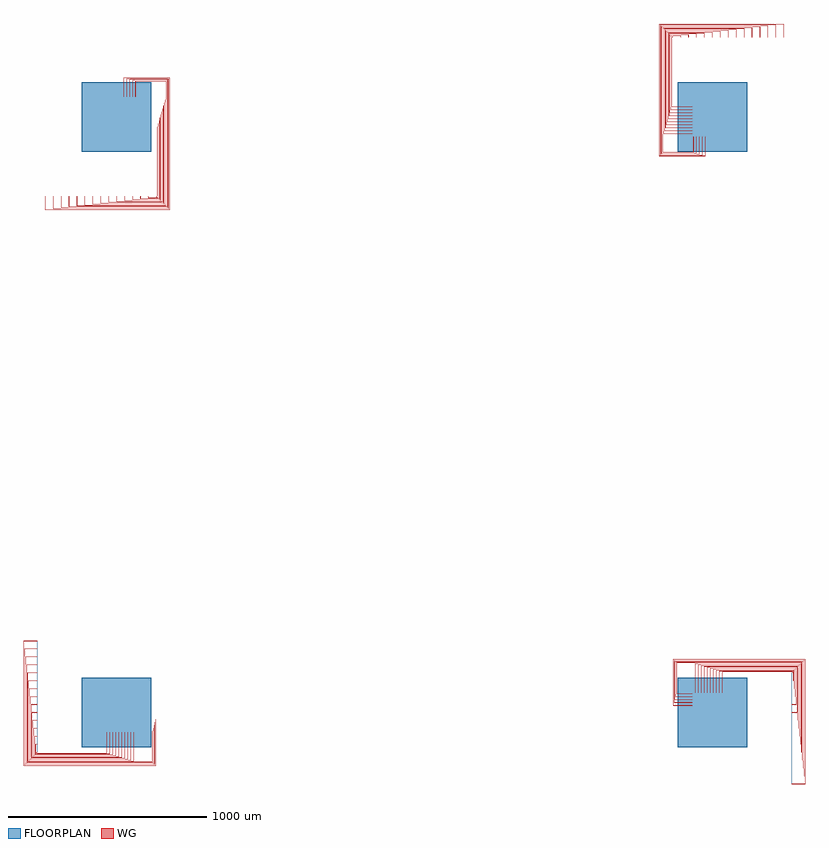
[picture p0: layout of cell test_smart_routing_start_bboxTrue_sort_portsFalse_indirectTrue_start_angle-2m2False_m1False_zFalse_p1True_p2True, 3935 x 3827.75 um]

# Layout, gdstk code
import gdstk
lib = gdstk.Library(unit=1e-6, precision=1e-09)
def R(c, l, rs):  # rectangles x0, y0, x1, y1
    for r in rs: c.add(gdstk.rectangle(r[:2], r[2:], *l))
def P(c, l, *ps):  # polygons
    for p in ps: c.add(gdstk.Polygon(p, *l))
WG = (1, 0)
FLOORPLAN = (10, 0)

test_smart_routing_start = lib.new_cell('test_smart_routing_start_bboxTrue_sort_portsFalse_indirectTrue_start_angle-2m2False_m1False_zFalse_p1True_p2True')
P(test_smart_routing_start, WG, [(2795.55,3050.05),(2795.55,3404.2),(2799.95,3404.2),(2799.95,3400),(2799.75,3400),(2799.75,3404),(2795.75,3404),(2795.75,3050.25),(2900,3050.25),(2900,3050.05)],
  [(2795.25,3049.75),(2795.25,3404.5),(2800.25,3404.5),(2800.25,3400),(2800.05,3400),(2800.05,3404.3),(2795.45,3404.3),(2795.45,3049.95),(2900,3049.95),(2900,3049.75)],
  [(2791.05,3035.05),(2791.05,3408.7),(2839.95,3408.7),(2839.95,3400),(2839.75,3400),(2839.75,3408.5),(2791.25,3408.5),(2791.25,3035.25),(2900,3035.25),(2900,3035.05)],
  [(2790.75,3034.75),(2790.75,3409),(2840.25,3409),(2840.25,3400),(2840.05,3400),(2840.05,3408.8),(2790.95,3408.8),(2790.95,3034.95),(2900,3034.95),(2900,3034.75)],
  [(2786.55,3020.05),(2786.55,3413.2),(2879.95,3413.2),(2879.95,3400),(2879.75,3400),(2879.75,3413),(2786.75,3413),(2786.75,3020.25),(2900,3020.25),(2900,3020.05)],
  [(2786.25,3019.75),(2786.25,3413.5),(2880.25,3413.5),(2880.25,3400),(2880.05,3400),(2880.05,3413.3),(2786.45,3413.3),(2786.45,3019.95),(2900,3019.95),(2900,3019.75)],
  [(2782.05,3005.05),(2782.05,3417.7),(2919.95,3417.7),(2919.95,3400),(2919.75,3400),(2919.75,3417.5),(2782.25,3417.5),(2782.25,3005.25),(2900,3005.25),(2900,3005.05)],
  [(2781.75,3004.75),(2781.75,3418),(2920.25,3418),(2920.25,3400),(2920.05,3400),(2920.05,3417.8),(2781.95,3417.8),(2781.95,3004.95),(2900,3004.95),(2900,3004.75)],
  [(2777.55,2990.05),(2777.55,3422.2),(2959.95,3422.2),(2959.95,3400),(2959.75,3400),(2959.75,3422),(2777.75,3422),(2777.75,2990.25),(2900,2990.25),(2900,2990.05)],
  [(2777.25,2989.75),(2777.25,3422.5),(2960.25,3422.5),(2960.25,3400),(2960.05,3400),(2960.05,3422.3),(2777.45,3422.3),(2777.45,2989.95),(2900,2989.95),(2900,2989.75)],
  [(2773.05,2975.05),(2773.05,3426.7),(2999.95,3426.7),(2999.95,3400),(2999.75,3400),(2999.75,3426.5),(2773.25,3426.5),(2773.25,2975.25),(2900,2975.25),(2900,2975.05)],
  [(2772.75,2974.75),(2772.75,3427),(3000.25,3427),(3000.25,3400),(3000.05,3400),(3000.05,3426.8),(2772.95,3426.8),(2772.95,2974.95),(2900,2974.95),(2900,2974.75)],
  [(2768.55,2960.05),(2768.55,3431.2),(3039.95,3431.2),(3039.95,3400),(3039.75,3400),(3039.75,3431),(2768.75,3431),(2768.75,2960.25),(2900,2960.25),(2900,2960.05)],
  [(2768.25,2959.75),(2768.25,3431.5),(3040.25,3431.5),(3040.25,3400),(3040.05,3400),(3040.05,3431.3),(2768.45,3431.3),(2768.45,2959.95),(2900,2959.95),(2900,2959.75)],
  [(2764.05,2945.05),(2764.05,3435.7),(3079.95,3435.7),(3079.95,3400),(3079.75,3400),(3079.75,3435.5),(2764.25,3435.5),(2764.25,2945.25),(2900,2945.25),(2900,2945.05)],
  [(2763.75,2944.75),(2763.75,3436),(3080.25,3436),(3080.25,3400),(3080.05,3400),(3080.05,3435.8),(2763.95,3435.8),(2763.95,2944.95),(2900,2944.95),(2900,2944.75)],
  [(2759.55,2930.05),(2759.55,3440.2),(3119.95,3440.2),(3119.95,3400),(3119.75,3400),(3119.75,3440),(2759.75,3440),(2759.75,2930.25),(2900,2930.25),(2900,2930.05)],
  [(2759.25,2929.75),(2759.25,3440.5),(3120.25,3440.5),(3120.25,3400),(3120.05,3400),(3120.05,3440.3),(2759.45,3440.3),(2759.45,2929.95),(2900,2929.95),(2900,2929.75)],
  [(2755.05,2915.05),(2755.05,3444.7),(3159.95,3444.7),(3159.95,3400),(3159.75,3400),(3159.75,3444.5),(2755.25,3444.5),(2755.25,2915.25),(2900,2915.25),(2900,2915.05)],
  [(2754.75,2914.75),(2754.75,3445),(3160.25,3445),(3160.25,3400),(3160.05,3400),(3160.05,3444.8),(2754.95,3444.8),(2754.95,2914.95),(2900,2914.95),(2900,2914.75)],
  [(2732.55,2802.8),(2732.55,3467.2),(3359.95,3467.2),(3359.95,3400),(3359.75,3400),(3359.75,3467),(2732.75,3467),(2732.75,2803),(2964.75,2803),(2964.75,2900),(2964.95,2900),(2964.95,2802.8)],
  [(2732.25,2802.5),(2732.25,3467.5),(3360.25,3467.5),(3360.25,3400),(3360.05,3400),(3360.05,3467.3),(2732.45,3467.3),(2732.45,2802.7),(2965.05,2802.7),(2965.05,2900),(2965.25,2900),(2965.25,2802.5)],
  [(2737.05,2807.3),(2737.05,3462.7),(3319.95,3462.7),(3319.95,3400),(3319.75,3400),(3319.75,3462.5),(2737.25,3462.5),(2737.25,2807.5),(2949.75,2807.5),(2949.75,2900),(2949.95,2900),(2949.95,2807.3)],
  [(2736.75,2807),(2736.75,3463),(3320.25,3463),(3320.25,3400),(3320.05,3400),(3320.05,3462.8),(2736.95,3462.8),(2736.95,2807.2),(2950.05,2807.2),(2950.05,2900),(2950.25,2900),(2950.25,2807)],
  [(2741.55,2811.8),(2741.55,3458.2),(3279.95,3458.2),(3279.95,3400),(3279.75,3400),(3279.75,3458),(2741.75,3458),(2741.75,2812),(2934.75,2812),(2934.75,2900),(2934.95,2900),(2934.95,2811.8)],
  [(2741.25,2811.5),(2741.25,3458.5),(3280.25,3458.5),(3280.25,3400),(3280.05,3400),(3280.05,3458.3),(2741.45,3458.3),(2741.45,2811.7),(2935.05,2811.7),(2935.05,2900),(2935.25,2900),(2935.25,2811.5)],
  [(2746.05,2816.3),(2746.05,3453.7),(3239.95,3453.7),(3239.95,3400),(3239.75,3400),(3239.75,3453.5),(2746.25,3453.5),(2746.25,2816.5),(2919.75,2816.5),(2919.75,2900),(2919.95,2900),(2919.95,2816.3)],
  [(2745.75,2816),(2745.75,3454),(3240.25,3454),(3240.25,3400),(3240.05,3400),(3240.05,3453.8),(2745.95,3453.8),(2745.95,2816.2),(2920.05,2816.2),(2920.05,2900),(2920.25,2900),(2920.25,2816)],
  [(2750.55,2820.8),(2750.55,3449.2),(3199.95,3449.2),(3199.95,3400),(3199.75,3400),(3199.75,3449),(2750.75,3449),(2750.75,2821),(2904.75,2821),(2904.75,2900),(2904.95,2900),(2904.95,2820.8)],
  [(2750.25,2820.5),(2750.25,3449.5),(3200.25,3449.5),(3200.25,3400),(3200.05,3400),(3200.05,3449.3),(2750.45,3449.3),(2750.45,2820.7),(2905.05,2820.7),(2905.05,2900),(2905.25,2900),(2905.25,2820.5)],
  [(200.05,2595.8),(200.05,2600),(200.25,2600),(200.25,2596),(204.25,2596),(204.25,2949.75),(100,2949.75),(100,2949.95),(204.45,2949.95),(204.45,2595.8)],
  [(199.75,2595.5),(199.75,2600),(199.95,2600),(199.95,2595.7),(204.55,2595.7),(204.55,2950.05),(100,2950.05),(100,2950.25),(204.75,2950.25),(204.75,2595.5)],
  [(160.05,2591.3),(160.05,2600),(160.25,2600),(160.25,2591.5),(208.75,2591.5),(208.75,2964.75),(100,2964.75),(100,2964.95),(208.95,2964.95),(208.95,2591.3)],
  [(159.75,2591),(159.75,2600),(159.95,2600),(159.95,2591.2),(209.05,2591.2),(209.05,2965.05),(100,2965.05),(100,2965.25),(209.25,2965.25),(209.25,2591)],
  [(120.05,2586.8),(120.05,2600),(120.25,2600),(120.25,2587),(213.25,2587),(213.25,2979.75),(100,2979.75),(100,2979.95),(213.45,2979.95),(213.45,2586.8)],
  [(119.75,2586.5),(119.75,2600),(119.95,2600),(119.95,2586.7),(213.55,2586.7),(213.55,2980.05),(100,2980.05),(100,2980.25),(213.75,2980.25),(213.75,2586.5)],
  [(80.05,2582.3),(80.05,2600),(80.25,2600),(80.25,2582.5),(217.75,2582.5),(217.75,2994.75),(100,2994.75),(100,2994.95),(217.95,2994.95),(217.95,2582.3)],
  [(79.75,2582),(79.75,2600),(79.95,2600),(79.95,2582.2),(218.05,2582.2),(218.05,2995.05),(100,2995.05),(100,2995.25),(218.25,2995.25),(218.25,2582)],
  [(40.05,2577.8),(40.05,2600),(40.25,2600),(40.25,2578),(222.25,2578),(222.25,3009.75),(100,3009.75),(100,3009.95),(222.45,3009.95),(222.45,2577.8)],
  [(39.75,2577.5),(39.75,2600),(39.95,2600),(39.95,2577.7),(222.55,2577.7),(222.55,3010.05),(100,3010.05),(100,3010.25),(222.75,3010.25),(222.75,2577.5)],
  [(0.05,2573.3),(0.05,2600),(0.25,2600),(0.25,2573.5),(226.75,2573.5),(226.75,3024.75),(100,3024.75),(100,3024.95),(226.95,3024.95),(226.95,2573.3)],
  [(-0.25,2573),(-0.25,2600),(-0.05,2600),(-0.05,2573.2),(227.05,2573.2),(227.05,3025.05),(100,3025.05),(100,3025.25),(227.25,3025.25),(227.25,2573)],
  [(-39.95,2568.8),(-39.95,2600),(-39.75,2600),(-39.75,2569),(231.25,2569),(231.25,3039.75),(100,3039.75),(100,3039.95),(231.45,3039.95),(231.45,2568.8)],
  [(-40.25,2568.5),(-40.25,2600),(-40.05,2600),(-40.05,2568.7),(231.55,2568.7),(231.55,3040.05),(100,3040.05),(100,3040.25),(231.75,3040.25),(231.75,2568.5)],
  [(-79.95,2564.3),(-79.95,2600),(-79.75,2600),(-79.75,2564.5),(235.75,2564.5),(235.75,3054.75),(100,3054.75),(100,3054.95),(235.95,3054.95),(235.95,2564.3)],
  [(-80.25,2564),(-80.25,2600),(-80.05,2600),(-80.05,2564.2),(236.05,2564.2),(236.05,3055.05),(100,3055.05),(100,3055.25),(236.25,3055.25),(236.25,2564)],
  [(-119.95,2559.8),(-119.95,2600),(-119.75,2600),(-119.75,2560),(240.25,2560),(240.25,3069.75),(100,3069.75),(100,3069.95),(240.45,3069.95),(240.45,2559.8)],
  [(-120.25,2559.5),(-120.25,2600),(-120.05,2600),(-120.05,2559.7),(240.55,2559.7),(240.55,3070.05),(100,3070.05),(100,3070.25),(240.75,3070.25),(240.75,2559.5)],
  [(-159.95,2555.3),(-159.95,2600),(-159.75,2600),(-159.75,2555.5),(244.75,2555.5),(244.75,3084.75),(100,3084.75),(100,3084.95),(244.95,3084.95),(244.95,2555.3)],
  [(-160.25,2555),(-160.25,2600),(-160.05,2600),(-160.05,2555.2),(245.05,2555.2),(245.05,3085.05),(100,3085.05),(100,3085.25),(245.25,3085.25),(245.25,2555)],
  [(-359.95,2532.8),(-359.95,2600),(-359.75,2600),(-359.75,2533),(267.25,2533),(267.25,3197),(35.25,3197),(35.25,3100),(35.05,3100),(35.05,3197.2),(267.45,3197.2),(267.45,2532.8)],
  [(-360.25,2532.5),(-360.25,2600),(-360.05,2600),(-360.05,2532.7),(267.55,2532.7),(267.55,3197.3),(34.95,3197.3),(34.95,3100),(34.75,3100),(34.75,3197.5),(267.75,3197.5),(267.75,2532.5)],
  [(-319.95,2537.3),(-319.95,2600),(-319.75,2600),(-319.75,2537.5),(262.75,2537.5),(262.75,3192.5),(50.25,3192.5),(50.25,3100),(50.05,3100),(50.05,3192.7),(262.95,3192.7),(262.95,2537.3)],
  [(-320.25,2537),(-320.25,2600),(-320.05,2600),(-320.05,2537.2),(263.05,2537.2),(263.05,3192.8),(49.95,3192.8),(49.95,3100),(49.75,3100),(49.75,3193),(263.25,3193),(263.25,2537)],
  [(-279.95,2541.8),(-279.95,2600),(-279.75,2600),(-279.75,2542),(258.25,2542),(258.25,3188),(65.25,3188),(65.25,3100),(65.05,3100),(65.05,3188.2),(258.45,3188.2),(258.45,2541.8)],
  [(-280.25,2541.5),(-280.25,2600),(-280.05,2600),(-280.05,2541.7),(258.55,2541.7),(258.55,3188.3),(64.95,3188.3),(64.95,3100),(64.75,3100),(64.75,3188.5),(258.75,3188.5),(258.75,2541.5)],
  [(-239.95,2546.3),(-239.95,2600),(-239.75,2600),(-239.75,2546.5),(253.75,2546.5),(253.75,3183.5),(80.25,3183.5),(80.25,3100),(80.05,3100),(80.05,3183.7),(253.95,3183.7),(253.95,2546.3)],
  [(-240.25,2546),(-240.25,2600),(-240.05,2600),(-240.05,2546.2),(254.05,2546.2),(254.05,3183.8),(79.95,3183.8),(79.95,3100),(79.75,3100),(79.75,3184),(254.25,3184),(254.25,2546)],
  [(-199.95,2550.8),(-199.95,2600),(-199.75,2600),(-199.75,2551),(249.25,2551),(249.25,3179),(95.25,3179),(95.25,3100),(95.05,3100),(95.05,3179.2),(249.45,3179.2),(249.45,2550.8)],
  [(-200.25,2550.5),(-200.25,2600),(-200.05,2600),(-200.05,2550.7),(249.55,2550.7),(249.55,3179.3),(94.95,3179.3),(94.95,3100),(94.75,3100),(94.75,3179.5),(249.75,3179.5),(249.75,2550.5)],
  [(-404.2,-204.45),(-404.2,-200.05),(-400,-200.05),(-400,-200.25),(-404,-200.25),(-404,-204.25),(-50.25,-204.25),(-50.25,-100),(-50.05,-100),(-50.05,-204.45)],
  [(-404.5,-204.75),(-404.5,-199.75),(-400,-199.75),(-400,-199.95),(-404.3,-199.95),(-404.3,-204.55),(-49.95,-204.55),(-49.95,-100),(-49.75,-100),(-49.75,-204.75)],
  [(-408.7,-208.95),(-408.7,-160.05),(-400,-160.05),(-400,-160.25),(-408.5,-160.25),(-408.5,-208.75),(-35.25,-208.75),(-35.25,-100),(-35.05,-100),(-35.05,-208.95)],
  [(-409,-209.25),(-409,-159.75),(-400,-159.75),(-400,-159.95),(-408.8,-159.95),(-408.8,-209.05),(-34.95,-209.05),(-34.95,-100),(-34.75,-100),(-34.75,-209.25)],
  [(-413.2,-213.45),(-413.2,-120.05),(-400,-120.05),(-400,-120.25),(-413,-120.25),(-413,-213.25),(-20.25,-213.25),(-20.25,-100),(-20.05,-100),(-20.05,-213.45)],
  [(-413.5,-213.75),(-413.5,-119.75),(-400,-119.75),(-400,-119.95),(-413.3,-119.95),(-413.3,-213.55),(-19.95,-213.55),(-19.95,-100),(-19.75,-100),(-19.75,-213.75)],
  [(-417.7,-217.95),(-417.7,-80.05),(-400,-80.05),(-400,-80.25),(-417.5,-80.25),(-417.5,-217.75),(-5.25,-217.75),(-5.25,-100),(-5.05,-100),(-5.05,-217.95)],
  [(-418,-218.25),(-418,-79.75),(-400,-79.75),(-400,-79.95),(-417.8,-79.95),(-417.8,-218.05),(-4.95,-218.05),(-4.95,-100),(-4.75,-100),(-4.75,-218.25)],
  [(-422.2,-222.45),(-422.2,-40.05),(-400,-40.05),(-400,-40.25),(-422,-40.25),(-422,-222.25),(9.75,-222.25),(9.75,-100),(9.95,-100),(9.95,-222.45)],
  [(-422.5,-222.75),(-422.5,-39.75),(-400,-39.75),(-400,-39.95),(-422.3,-39.95),(-422.3,-222.55),(10.05,-222.55),(10.05,-100),(10.25,-100),(10.25,-222.75)],
  [(-426.7,-226.95),(-426.7,-0.05),(-400,-0.05),(-400,-0.25),(-426.5,-0.25),(-426.5,-226.75),(24.75,-226.75),(24.75,-100),(24.95,-100),(24.95,-226.95)],
  [(-427,-227.25),(-427,0.25),(-400,0.25),(-400,0.05),(-426.8,0.05),(-426.8,-227.05),(25.05,-227.05),(25.05,-100),(25.25,-100),(25.25,-227.25)],
  [(-431.2,-231.45),(-431.2,39.95),(-400,39.95),(-400,39.75),(-431,39.75),(-431,-231.25),(39.75,-231.25),(39.75,-100),(39.95,-100),(39.95,-231.45)],
  [(-431.5,-231.75),(-431.5,40.25),(-400,40.25),(-400,40.05),(-431.3,40.05),(-431.3,-231.55),(40.05,-231.55),(40.05,-100),(40.25,-100),(40.25,-231.75)],
  [(-435.7,-235.95),(-435.7,79.95),(-400,79.95),(-400,79.75),(-435.5,79.75),(-435.5,-235.75),(54.75,-235.75),(54.75,-100),(54.95,-100),(54.95,-235.95)],
  [(-436,-236.25),(-436,80.25),(-400,80.25),(-400,80.05),(-435.8,80.05),(-435.8,-236.05),(55.05,-236.05),(55.05,-100),(55.25,-100),(55.25,-236.25)],
  [(-440.2,-240.45),(-440.2,119.95),(-400,119.95),(-400,119.75),(-440,119.75),(-440,-240.25),(69.75,-240.25),(69.75,-100),(69.95,-100),(69.95,-240.45)],
  [(-440.5,-240.75),(-440.5,120.25),(-400,120.25),(-400,120.05),(-440.3,120.05),(-440.3,-240.55),(70.05,-240.55),(70.05,-100),(70.25,-100),(70.25,-240.75)],
  [(-444.7,-244.95),(-444.7,159.95),(-400,159.95),(-400,159.75),(-444.5,159.75),(-444.5,-244.75),(84.75,-244.75),(84.75,-100),(84.95,-100),(84.95,-244.95)],
  [(-445,-245.25),(-445,160.25),(-400,160.25),(-400,160.05),(-444.8,160.05),(-444.8,-245.05),(85.05,-245.05),(85.05,-100),(85.25,-100),(85.25,-245.25)],
  [(-467.2,-267.45),(-467.2,359.95),(-400,359.95),(-400,359.75),(-467,359.75),(-467,-267.25),(197,-267.25),(197,-35.25),(100,-35.25),(100,-35.05),(197.2,-35.05),(197.2,-267.45)],
  [(-467.5,-267.75),(-467.5,360.25),(-400,360.25),(-400,360.05),(-467.3,360.05),(-467.3,-267.55),(197.3,-267.55),(197.3,-34.95),(100,-34.95),(100,-34.75),(197.5,-34.75),(197.5,-267.75)],
  [(-462.7,-262.95),(-462.7,319.95),(-400,319.95),(-400,319.75),(-462.5,319.75),(-462.5,-262.75),(192.5,-262.75),(192.5,-50.25),(100,-50.25),(100,-50.05),(192.7,-50.05),(192.7,-262.95)],
  [(-463,-263.25),(-463,320.25),(-400,320.25),(-400,320.05),(-462.8,320.05),(-462.8,-263.05),(192.8,-263.05),(192.8,-49.95),(100,-49.95),(100,-49.75),(193,-49.75),(193,-263.25)],
  [(-458.2,-258.45),(-458.2,279.95),(-400,279.95),(-400,279.75),(-458,279.75),(-458,-258.25),(188,-258.25),(188,-65.25),(100,-65.25),(100,-65.05),(188.2,-65.05),(188.2,-258.45)],
  [(-458.5,-258.75),(-458.5,280.25),(-400,280.25),(-400,280.05),(-458.3,280.05),(-458.3,-258.55),(188.3,-258.55),(188.3,-64.95),(100,-64.95),(100,-64.75),(188.5,-64.75),(188.5,-258.75)],
  [(-453.7,-253.95),(-453.7,239.95),(-400,239.95),(-400,239.75),(-453.5,239.75),(-453.5,-253.75),(183.5,-253.75),(183.5,-80.25),(100,-80.25),(100,-80.05),(183.7,-80.05),(183.7,-253.95)],
  [(-454,-254.25),(-454,240.25),(-400,240.25),(-400,240.05),(-453.8,240.05),(-453.8,-254.05),(183.8,-254.05),(183.8,-79.95),(100,-79.95),(100,-79.75),(184,-79.75),(184,-254.25)],
  [(-449.2,-249.45),(-449.2,199.95),(-400,199.95),(-400,199.75),(-449,199.75),(-449,-249.25),(179,-249.25),(179,-95.25),(100,-95.25),(100,-95.05),(179.2,-95.05),(179.2,-249.45)],
  [(-449.5,-249.75),(-449.5,200.25),(-400,200.25),(-400,200.05),(-449.3,200.05),(-449.3,-249.55),(179.3,-249.55),(179.3,-94.95),(100,-94.95),(100,-94.75),(179.5,-94.75),(179.5,-249.75)],
  [(3050.05,100),(3050.05,204.45),(3404.2,204.45),(3404.2,200.05),(3400,200.05),(3400,200.25),(3404,200.25),(3404,204.25),(3050.25,204.25),(3050.25,100)],
  [(3049.75,100),(3049.75,204.75),(3404.5,204.75),(3404.5,199.75),(3400,199.75),(3400,199.95),(3404.3,199.95),(3404.3,204.55),(3049.95,204.55),(3049.95,100)],
  [(3035.05,100),(3035.05,208.95),(3408.7,208.95),(3408.7,160.05),(3400,160.05),(3400,160.25),(3408.5,160.25),(3408.5,208.75),(3035.25,208.75),(3035.25,100)],
  [(3034.75,100),(3034.75,209.25),(3409,209.25),(3409,159.75),(3400,159.75),(3400,159.95),(3408.8,159.95),(3408.8,209.05),(3034.95,209.05),(3034.95,100)],
  [(3020.05,100),(3020.05,213.45),(3413.2,213.45),(3413.2,120.05),(3400,120.05),(3400,120.25),(3413,120.25),(3413,213.25),(3020.25,213.25),(3020.25,100)],
  [(3019.75,100),(3019.75,213.75),(3413.5,213.75),(3413.5,119.75),(3400,119.75),(3400,119.95),(3413.3,119.95),(3413.3,213.55),(3019.95,213.55),(3019.95,100)],
  [(3400,80.05),(3400,80.25),(3417.5,80.25),(3417.5,217.75),(3005.25,217.75),(3005.25,100),(3005.05,100),(3005.05,217.95),(3417.7,217.95),(3417.7,80.05)],
  [(3400,79.75),(3400,79.95),(3417.8,79.95),(3417.8,218.05),(3004.95,218.05),(3004.95,100),(3004.75,100),(3004.75,218.25),(3418,218.25),(3418,79.75)],
  [(3400,40.05),(3400,40.25),(3422,40.25),(3422,222.25),(2990.25,222.25),(2990.25,100),(2990.05,100),(2990.05,222.45),(3422.2,222.45),(3422.2,40.05)],
  [(3400,39.75),(3400,39.95),(3422.3,39.95),(3422.3,222.55),(2989.95,222.55),(2989.95,100),(2989.75,100),(2989.75,222.75),(3422.5,222.75),(3422.5,39.75)],
  [(3400,0.05),(3400,0.25),(3426.5,0.25),(3426.5,226.75),(2975.25,226.75),(2975.25,100),(2975.05,100),(2975.05,226.95),(3426.7,226.95),(3426.7,0.05)],
  [(3400,-0.25),(3400,-0.05),(3426.8,-0.05),(3426.8,227.05),(2974.95,227.05),(2974.95,100),(2974.75,100),(2974.75,227.25),(3427,227.25),(3427,-0.25)],
  [(3400,-39.95),(3400,-39.75),(3431,-39.75),(3431,231.25),(2960.25,231.25),(2960.25,100),(2960.05,100),(2960.05,231.45),(3431.2,231.45),(3431.2,-39.95)],
  [(3400,-40.25),(3400,-40.05),(3431.3,-40.05),(3431.3,231.55),(2959.95,231.55),(2959.95,100),(2959.75,100),(2959.75,231.75),(3431.5,231.75),(3431.5,-40.25)],
  [(3400,-79.95),(3400,-79.75),(3435.5,-79.75),(3435.5,235.75),(2945.25,235.75),(2945.25,100),(2945.05,100),(2945.05,235.95),(3435.7,235.95),(3435.7,-79.95)],
  [(3400,-80.25),(3400,-80.05),(3435.8,-80.05),(3435.8,236.05),(2944.95,236.05),(2944.95,100),(2944.75,100),(2944.75,236.25),(3436,236.25),(3436,-80.25)],
  [(3400,-119.95),(3400,-119.75),(3440,-119.75),(3440,240.25),(2930.25,240.25),(2930.25,100),(2930.05,100),(2930.05,240.45),(3440.2,240.45),(3440.2,-119.95)],
  [(3400,-120.25),(3400,-120.05),(3440.3,-120.05),(3440.3,240.55),(2929.95,240.55),(2929.95,100),(2929.75,100),(2929.75,240.75),(3440.5,240.75),(3440.5,-120.25)],
  [(3400,-159.95),(3400,-159.75),(3444.5,-159.75),(3444.5,244.75),(2915.25,244.75),(2915.25,100),(2915.05,100),(2915.05,244.95),(3444.7,244.95),(3444.7,-159.95)],
  [(3400,-160.25),(3400,-160.05),(3444.8,-160.05),(3444.8,245.05),(2914.95,245.05),(2914.95,100),(2914.75,100),(2914.75,245.25),(3445,245.25),(3445,-160.25)],
  [(3400,-359.95),(3400,-359.75),(3467,-359.75),(3467,267.25),(2803,267.25),(2803,35.25),(2900,35.25),(2900,35.05),(2802.8,35.05),(2802.8,267.45),(3467.2,267.45),(3467.2,-359.95)],
  [(3400,-360.25),(3400,-360.05),(3467.3,-360.05),(3467.3,267.55),(2802.7,267.55),(2802.7,34.95),(2900,34.95),(2900,34.75),(2802.5,34.75),(2802.5,267.75),(3467.5,267.75),(3467.5,-360.25)],
  [(3400,-319.95),(3400,-319.75),(3462.5,-319.75),(3462.5,262.75),(2807.5,262.75),(2807.5,50.25),(2900,50.25),(2900,50.05),(2807.3,50.05),(2807.3,262.95),(3462.7,262.95),(3462.7,-319.95)],
  [(3400,-320.25),(3400,-320.05),(3462.8,-320.05),(3462.8,263.05),(2807.2,263.05),(2807.2,49.95),(2900,49.95),(2900,49.75),(2807,49.75),(2807,263.25),(3463,263.25),(3463,-320.25)],
  [(3400,-279.95),(3400,-279.75),(3458,-279.75),(3458,258.25),(2812,258.25),(2812,65.25),(2900,65.25),(2900,65.05),(2811.8,65.05),(2811.8,258.45),(3458.2,258.45),(3458.2,-279.95)],
  [(3400,-280.25),(3400,-280.05),(3458.3,-280.05),(3458.3,258.55),(2811.7,258.55),(2811.7,64.95),(2900,64.95),(2900,64.75),(2811.5,64.75),(2811.5,258.75),(3458.5,258.75),(3458.5,-280.25)],
  [(3400,-239.95),(3400,-239.75),(3453.5,-239.75),(3453.5,253.75),(2816.5,253.75),(2816.5,80.25),(2900,80.25),(2900,80.05),(2816.3,80.05),(2816.3,253.95),(3453.7,253.95),(3453.7,-239.95)],
  [(3400,-240.25),(3400,-240.05),(3453.8,-240.05),(3453.8,254.05),(2816.2,254.05),(2816.2,79.95),(2900,79.95),(2900,79.75),(2816,79.75),(2816,254.25),(3454,254.25),(3454,-240.25)],
  [(3400,-199.95),(3400,-199.75),(3449,-199.75),(3449,249.25),(2821,249.25),(2821,95.25),(2900,95.25),(2900,95.05),(2820.8,95.05),(2820.8,249.45),(3449.2,249.45),(3449.2,-199.95)],
  [(3400,-200.25),(3400,-200.05),(3449.3,-200.05),(3449.3,249.55),(2820.7,249.55),(2820.7,94.95),(2900,94.95),(2900,94.75),(2820.5,94.75),(2820.5,249.75),(3449.5,249.75),(3449.5,-200.25)])
R(test_smart_routing_start, FLOORPLAN, [(-175,-175,175,175), (2825,-175,3175,175), (-175,2825,175,3175), (2825,2825,3175,3175)])
P(test_smart_routing_start, FLOORPLAN, [(-400,-200),(-400,360),(-400,360),(-400,-200)],
  [(-360,2600),(-360,2600),(200,2600),(200,2600)],
  [(3400,-360),(3400,200),(3400,200),(3400,-360)],
  [(2800,3400),(2800,3400),(3360,3400),(3360,3400)])

lib.write_gds('test_smart_routing_start_bboxTrue_sort_portsFalse_indirectTrue_start_angle-2m2False_m1False_zFalse_p1True_p2True.gds')
